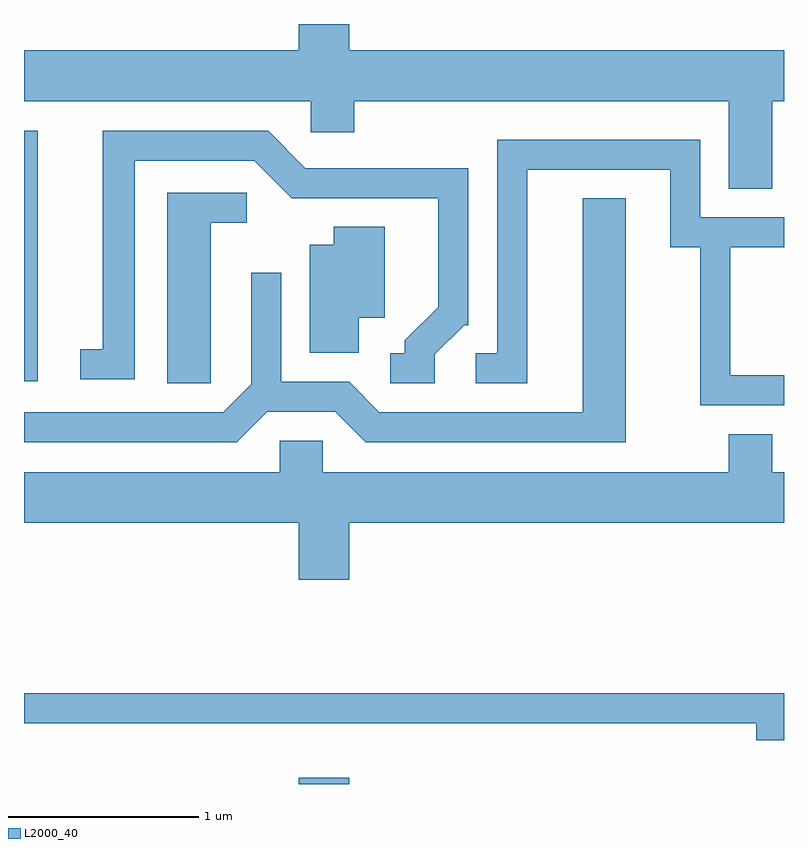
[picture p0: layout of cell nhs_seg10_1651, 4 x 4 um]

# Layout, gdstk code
import gdstk
lib = gdstk.Library(unit=1e-6, precision=1e-09)
def R(c, l, rs):  # rectangles x0, y0, x1, y1
    for r in rs: c.add(gdstk.rectangle(r[:2], r[2:], *l))
def P(c, l, *ps):  # polygons
    for p in ps: c.add(gdstk.Polygon(p, *l))
L2000_40 = (2000, 40)

nhs_seg10_1651 = lib.new_cell('nhs_seg10_1651')
R(nhs_seg10_1651, L2000_40, [(235.056,2132.522,235.324,2132.554), (233.611,2134.641,233.684,2135.959)])
P(nhs_seg10_1651, L2000_40, [(235.324,2136.522),(235.056,2136.522),(235.056,2136.384),(233.611,2136.384),(233.611,2136.116),(235.121,2136.116),(235.121,2135.951),(235.349,2135.951),(235.349,2136.116),(237.321,2136.116),(237.321,2135.656),(237.549,2135.656),(237.549,2136.116),(237.611,2136.116),(237.611,2136.384),(235.324,2136.384)],
  [(235.774,2134.784),(235.927,2134.936),(235.949,2134.936),(235.949,2135.764),(235.092,2135.764),(234.897,2135.959),(234.026,2135.959),(234.026,2134.809),(233.908,2134.809),(233.908,2134.651),(234.194,2134.651),(234.194,2135.801),(234.824,2135.801),(235.019,2135.606),(235.791,2135.606),(235.791,2135.032),(235.616,2134.857),(235.616,2134.789),(235.538,2134.789),(235.538,2134.631),(235.774,2134.631)],
  [(237.611,2134.674),(237.329,2134.674),(237.329,2135.346),(237.611,2135.346),(237.611,2135.504),(237.169,2135.504),(237.169,2135.914),(236.101,2135.914),(236.101,2134.789),(235.988,2134.789),(235.988,2134.631),(236.259,2134.631),(236.259,2135.756),(237.011,2135.756),(237.011,2135.346),(237.171,2135.346),(237.171,2134.516),(237.611,2134.516)],
  [(234.594,2135.476),(234.783,2135.476),(234.783,2135.634),(234.366,2135.634),(234.366,2134.631),(234.594,2134.631)],
  [(234.892,2134.481),(235.249,2134.481),(235.409,2134.321),(236.779,2134.321),(236.779,2135.604),(236.551,2135.604),(236.551,2134.479),(235.482,2134.479),(235.322,2134.639),(234.964,2134.639),(234.964,2135.213),(234.806,2135.213),(234.806,2134.627),(234.659,2134.479),(233.611,2134.479),(233.611,2134.321),(234.732,2134.321)],
  [(235.374,2134.976),(235.509,2134.976),(235.509,2135.454),(235.241,2135.454),(235.241,2135.359),(235.116,2135.359),(235.116,2134.791),(235.374,2134.791)],
  [(235.324,2133.896),(237.611,2133.896),(237.611,2134.164),(237.549,2134.164),(237.549,2134.364),(237.321,2134.364),(237.321,2134.164),(235.184,2134.164),(235.184,2134.329),(234.956,2134.329),(234.956,2134.164),(233.611,2134.164),(233.611,2133.896),(235.056,2133.896),(235.056,2133.596),(235.324,2133.596)],
  [(237.611,2132.999),(233.611,2132.999),(233.611,2132.841),(237.466,2132.841),(237.466,2132.751),(237.611,2132.751)])

lib.write_gds('nhs_seg10_1651.gds')
